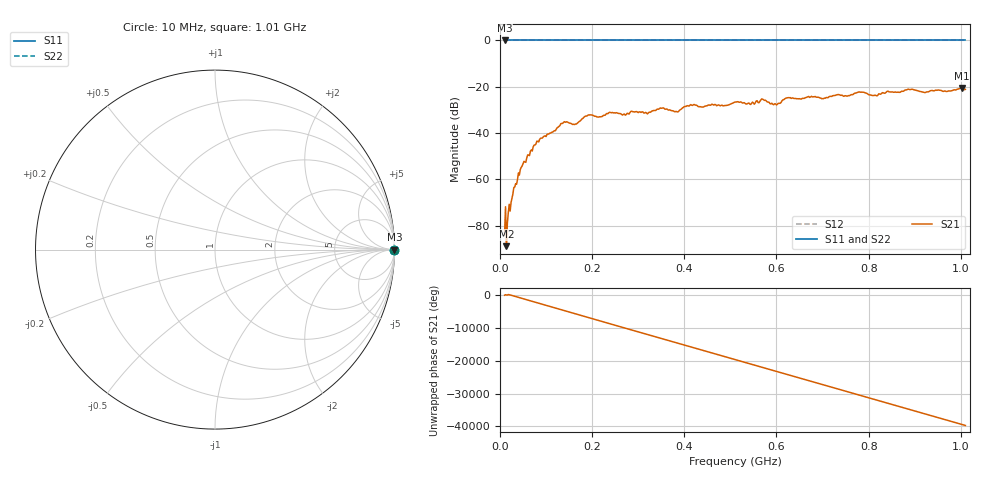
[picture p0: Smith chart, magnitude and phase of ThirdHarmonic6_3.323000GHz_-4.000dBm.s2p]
! 8/17/2025 10:24:59 AM
! C:\ANRITSUVNA\TEMP\TEMP.S2P
! CHANNEL.1
! TR.MEASUREMENT
! RAW.DATA
! RF.CORRECTION.OFF
! AVERAGING.OFF
! IF.BANDWIDTH: 5KHZ
! SWEEPTYPE:  FREQ.SWEEP(Linear)
! Reference Plane Port Info
! PORT:  PORT1  PORT2
! DISTANCE:  0  m  0  m
! TIME:  0  s  0  s
! PHASE.OFFSET:  0  deg.  0  deg.
! LOSS:  0  dB  0  dB
! REF.LOSS:  0  dB  0  dB
! REF.FREQ:  0  Hz  0  Hz
! Power Info
! POWER:  -20  dBm  -20  dBm
! EFF.POWER:  -20  dBm  -20  dBm
! SOURCE.ATTEN:  0  dB  0  dB
! TEST.ATTEN:  0  dB  0  dB
# GHZ S RI R 50.0
! FREQ.GHZ  S11RE  S11IM  S21RE  S21IM  S12RE  S12IM  S22RE  S22IM
!; PortSelection: Port_12
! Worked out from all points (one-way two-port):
!   501 points, 10 MHz to 1.01 GHz, reference 50 ohm
!   highest |S21| = -20.51 dB at 1.002 GHz (marker M1); lowest = -88.8 dB at 14 MHz (marker M2)
!   lowest |S11| = 0.0 dB at 10 MHz (marker M3)
!   |S11| at or under -10 dB: nowhere
!   |S22| runs from 0.0 to 0.0 dB; largest |S21 - S12| = 1.1
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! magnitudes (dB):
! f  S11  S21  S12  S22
! 10 MHz  0.0  -83.3  0.0  0.0
! 14 MHz  0.0  -88.8  0.0  0.0
! 18 MHz  0.0  -74.3  0.0  0.0
! 30 MHz  0.0  -63.5  0.0  0.0
! 44 MHz  0.0  -55.7  0.0  0.0
! 76 MHz  0.0  -45.1  0.0  0.0
! 136 MHz  0.0  -35.8  0.0  0.0
! 162 MHz  0.0  -36.3  0.0  0.0
! 178 MHz  0.0  -33.8  0.0  0.0
! 194 MHz  0.0  -32.1  0.0  0.0
! 318 MHz  0.0  -31.3  0.0  0.0
! 344 MHz  0.0  -29.7  0.0  0.0
! 384 MHz  0.0  -30.8  0.0  0.0
! 418 MHz  0.0  -28.0  0.0  0.0
! 510 MHz  0.0  -26.6  0.0  0.0
! 570 MHz  0.0  -25.3  0.0  0.0
! 598 MHz  0.0  -27.4  0.0  0.0
! 624 MHz  0.0  -24.8  0.0  0.0
! 678 MHz  0.0  -24.4  0.0  0.0
! 844 MHz  0.0  -22.1  0.0  0.0
! 1.002 GHz  0.0  -20.5  0.0  0.0
! 1.01 GHz  0.0  -21.1  0.0  0.0
